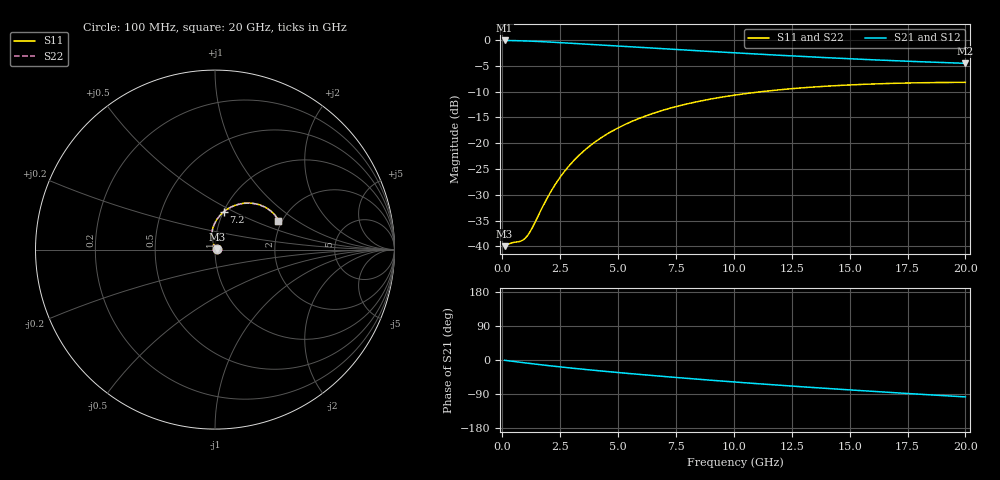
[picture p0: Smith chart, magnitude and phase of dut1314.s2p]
! Touchstone file exported from HFSS 2024.1.0
!  File:  C:/UserFiles/LocalFiles/RDL_TSV_Batchsim/temp_RDL_TSV_1314_1780385474.aedt
!  Generated:  03:46:27 PM Jun  2, 2026
!  Design:  RDL_TSV
!  Project:  temp_RDL_TSV_1314_1780385474
!  Setup:  Setup1
!  Solution:  Sweep
! Variables:
!  dtsv = 5.91um
!  hbump = 3um
!  htsv = 50.92um
!  ldown = 117.05um
!  lrdl = 241.71um
!  p = 40
!  p1 = 40.16um
!  rhole = 10um
!  subl = 1317.99um
!  t = 450um
!  tdown = 4.64um
!  trdl = 2.24um
!  viad = 10um
!  wdown = 16.86um
!  wrdl = 22.48um
!  xbump = 18um
# GHz S MA R 50.000000
! Terminal data exported
! Port[1] = TM1_1_T1
! Port[2] = TM1_4_T1
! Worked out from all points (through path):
!   200 points, 100 MHz to 20 GHz, reference 50 ohm
!   highest |S21| = -0.09 dB at 100 MHz (marker M1); lowest = -4.5 dB at 20 GHz (marker M2)
!   group delay of S21, straight-line fit = 13 ps
!   lowest |S11| = -39.9 dB at 100 MHz (marker M3), VSWR 1.02, Z = 51 + j0.127 ohm
!   |S11| at or under -10 dB: start of sweep to 11.22 GHz
!   |S22| runs from -39.9 to -8.2 dB; largest |S21 - S12| = 2.8e-15
!   S11 on the Smith chart (normalised r, x): 100 MHz: 1.02, +0.00; 7.2 GHz: 1.01, +0.45; 20 GHz: 1.91, +0.73
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0.1  0.01006 7.1  0.9898 -0.8  0.9898 -0.8  0.01006 7.1
! Gamma 0 0 0 0
! Port Impedance 50 0 50 0
0.4  0.01083 23.8  0.9876 -3.2  0.9876 -3.2  0.01083 23.8
0.8  0.01125 46.7  0.9824 -6.2  0.9824 -6.2  0.01126 46.6
1  0.01206 61.3  0.9792 -7.7  0.9792 -7.7  0.01206 61.2
1.1  0.01283 68.6  0.9774 -8.5  0.9774 -8.5  0.01283 68.5
1.3  0.01524 81.5  0.9734 -9.9  0.9734 -9.9  0.01523 81.4
1.9  0.02836 101.7  0.9594 -14.2  0.9594 -14.2  0.0283 101.6
2.3  0.04033 105.3  0.9487 -16.9  0.9487 -16.9  0.04025 105.2
2.6  0.05035 105.7  0.9403 -18.9  0.9403 -18.9  0.05025 105.7
2.9  0.06099 105.1  0.9318 -20.8  0.9318 -20.8  0.06086 105.1
3.5  0.08339 102.2  0.9145 -24.5  0.9145 -24.5  0.08321 102.1
4.2  0.1103 97.5  0.8947 -28.6  0.8947 -28.6  0.1101 97.5
4.9  0.137 92.5  0.8754 -32.5  0.8754 -32.5  0.1367 92.5
5.8  0.17 86.1  0.8516 -37.4  0.8516 -37.4  0.1697 86.1
6.8  0.2042 79.4  0.8262 -42.6  0.8262 -42.6  0.2037 79.3
7.2  0.2169 76.8  0.8163 -44.6  0.8163 -44.6  0.2165 76.8
8.6  0.2575 68.5  0.7831 -51.4  0.7831 -51.4  0.257 68.4
10.1  0.2938 60.5  0.7496 -58.4  0.7496 -58.4  0.2932 60.4
11.7  0.3248 52.9  0.7166 -65.5  0.7166 -65.5  0.3241 52.8
13.4  0.3499 45.8  0.6848 -72.6  0.6848 -72.6  0.3491 45.7
16.7  0.3793 34.1  0.6332 -85.4  0.6332 -85.4  0.3785 34.0
20  0.3886 24.6  0.5947 -97.4  0.5947 -97.4  0.3877 24.5
